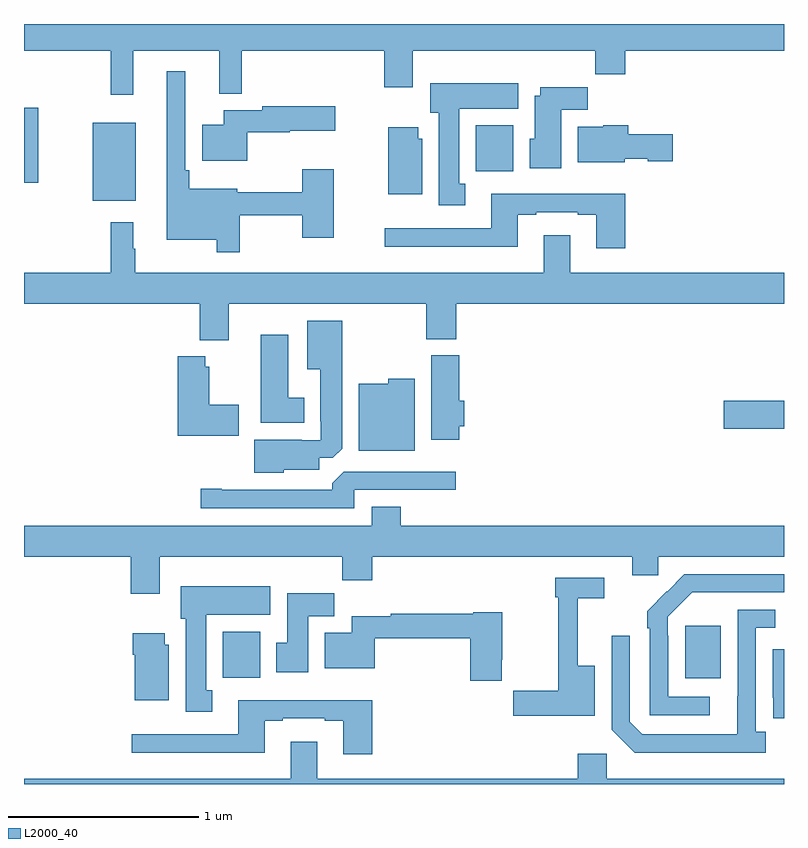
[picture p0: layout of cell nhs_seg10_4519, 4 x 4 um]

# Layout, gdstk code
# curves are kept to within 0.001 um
import gdstk
lib = gdstk.Library(unit=1e-6, precision=1e-09)
def R(c, l, rs):  # rectangles x0, y0, x1, y1
    for r in rs: c.add(gdstk.rectangle(r[:2], r[2:], *l))
def P(c, l, *ps):  # polygons
    for p in ps: c.add(gdstk.Polygon(p, *l))
L2000_40 = (2000, 40)

nhs_seg10_4519 = lib.new_cell('nhs_seg10_4519')
R(nhs_seg10_4519, L2000_40, [(372.479,1253.057,372.667,1253.332), (370.046,1253.06,370.243,1253.302), (372.684,1254.371,373,1254.518), (369.362,1255.571,369.589,1255.981), (369,1255.665,369.076,1256.059), (371.378,1255.724,371.575,1255.966)])
P(nhs_seg10_4519, L2000_40, [(369.575,1256.36),(370.028,1256.36),(370.028,1256.132),(370.145,1256.132),(370.145,1256.36),(370.895,1256.36),(370.895,1256.166),(371.047,1256.166),(371.047,1256.36),(372.007,1256.36),(372.007,1256.236),(372.164,1256.236),(372.164,1256.36),(373,1256.36),(373,1256.5),(369,1256.5),(369,1256.36),(369.457,1256.36),(369.457,1256.127),(369.575,1256.127)],
  [(370.135,1255.494),(370.465,1255.494),(370.465,1255.374),(370.63,1255.374),(370.63,1255.735),(370.465,1255.735),(370.465,1255.615),(370.123,1255.615),(370.123,1255.633),(369.869,1255.633),(369.869,1255.729),(369.849,1255.729),(369.849,1256.251),(369.752,1256.251),(369.752,1255.364),(370.014,1255.364),(370.014,1255.299),(370.135,1255.299)],
  [(371.323,1255.658),(371.29,1255.658),(371.29,1256.054),(371.602,1256.054),(371.602,1256.188),(371.138,1256.188),(371.138,1256.034),(371.183,1256.034),(371.183,1255.545),(371.323,1255.545)],
  [(371.827,1256.048),(371.966,1256.048),(371.966,1256.167),(371.717,1256.167),(371.717,1256.122),(371.687,1256.122),(371.687,1255.896),(371.663,1255.896),(371.663,1255.742),(371.827,1255.742)],
  [(370.174,1255.93),(370.398,1255.93),(370.398,1255.937),(370.639,1255.937),(370.639,1256.067),(370.254,1256.067),(370.254,1256.047),(370.052,1256.047),(370.052,1255.969),(369.938,1255.969),(369.938,1255.781),(370.174,1255.781)],
  [(372.162,1255.79),(372.282,1255.79),(372.282,1255.778),(372.415,1255.778),(372.415,1255.92),(372.179,1255.92),(372.179,1255.966),(372.048,1255.966),(372.048,1255.96),(371.915,1255.96),(371.915,1255.772),(372.162,1255.772)],
  [(371.095,1255.896),(371.074,1255.896),(371.074,1255.957),(370.916,1255.957),(370.916,1255.604),(371.095,1255.604)],
  [(372.164,1255.606),(371.459,1255.606),(371.459,1255.425),(370.899,1255.425),(370.899,1255.328),(371.599,1255.328),(371.599,1255.497),(371.695,1255.497),(371.695,1255.509),(371.915,1255.509),(371.915,1255.497),(372.011,1255.497),(372.011,1255.32),(372.164,1255.32)],
  [(370.078,1255.028),(371.116,1255.028),(371.116,1254.841),(371.276,1254.841),(371.276,1255.028),(373,1255.028),(373,1255.192),(371.875,1255.192),(371.875,1255.387),(371.735,1255.387),(371.735,1255.192),(369.586,1255.192),(369.586,1255.316),(369.574,1255.316),(369.574,1255.456),(369.457,1255.456),(369.457,1255.192),(369,1255.192),(369,1255.028),(369.926,1255.028),(369.926,1254.836),(370.078,1254.836)],
  [(370.368,1254.155),(370.555,1254.155),(370.555,1254.216),(370.626,1254.216),(370.675,1254.265),(370.675,1254.937),(370.49,1254.937),(370.49,1254.683),(370.559,1254.683),(370.559,1254.409),(370.563,1254.409),(370.563,1254.309),(370.463,1254.309),(370.463,1254.313),(370.211,1254.313),(370.211,1254.137),(370.368,1254.137)],
  [(370.474,1254.532),(370.39,1254.532),(370.39,1254.865),(370.247,1254.865),(370.247,1254.401),(370.474,1254.401)],
  [(371.291,1254.383),(371.317,1254.383),(371.317,1254.518),(371.291,1254.518),(371.291,1254.756),(371.144,1254.756),(371.144,1254.312),(371.291,1254.312)],
  [(370.129,1254.495),(369.976,1254.495),(369.976,1254.697),(369.954,1254.697),(369.954,1254.751),(369.809,1254.751),(369.809,1254.332),(370.129,1254.332)],
  [(371.056,1254.634),(370.917,1254.634),(370.917,1254.607),(370.763,1254.607),(370.763,1254.254),(371.056,1254.254)],
  [(370.737,1254.048),(371.272,1254.048),(371.272,1254.144),(370.683,1254.144),(370.622,1254.082),(370.622,1254.048),(370.042,1254.048),(370.042,1254.053),(369.93,1254.053),(369.93,1253.952),(370.737,1253.952)],
  [(369,1253.696),(369.563,1253.696),(369.563,1253.502),(369.715,1253.502),(369.715,1253.696),(370.675,1253.696),(370.675,1253.572),(370.832,1253.572),(370.832,1253.696),(372.2,1253.696),(372.2,1253.598),(372.339,1253.598),(372.339,1253.696),(373,1253.696),(373,1253.86),(370.982,1253.86),(370.982,1253.959),(370.829,1253.959),(370.829,1253.86),(369,1253.86)],
  [(372.61,1252.959),(372.39,1252.959),(372.39,1253.279),(372.387,1253.279),(372.387,1253.379),(372.516,1253.508),(373,1253.508),(373,1253.604),(372.476,1253.604),(372.279,1253.409),(372.279,1253.321),(372.294,1253.321),(372.294,1252.863),(372.61,1252.863)],
  [(372.004,1253.122),(371.915,1253.122),(371.915,1253.478),(372.055,1253.478),(372.055,1253.586),(371.797,1253.586),(371.797,1253.483),(371.812,1253.483),(371.812,1252.991),(371.575,1252.991),(371.575,1252.858),(372.004,1252.858)],
  [(369.991,1252.994),(369.958,1252.994),(369.958,1253.39),(370.297,1253.39),(370.297,1253.542),(369.824,1253.542),(369.824,1253.37),(369.851,1253.37),(369.851,1252.881),(369.991,1252.881)],
  [(370.495,1253.384),(370.634,1253.384),(370.634,1253.503),(370.385,1253.503),(370.385,1253.244),(370.328,1253.244),(370.328,1253.088),(370.495,1253.088)],
  [(372.904,1252.774),(372.852,1252.774),(372.852,1253.322),(372.955,1253.322),(372.955,1253.418),(372.756,1253.418),(372.755,1252.761),(372.255,1252.761),(372.189,1252.827),(372.189,1253.281),(372.093,1253.281),(372.093,1252.785),(372.214,1252.664),(372.904,1252.664)],
  [(371.515,1253.155),(371.518,1253.155),(371.518,1253.403),(371.364,1253.403),(371.364,1253.395),(370.93,1253.395),(370.93,1253.384),(370.724,1253.384),(370.724,1253.296),(370.583,1253.296),(370.583,1253.108),(370.847,1253.108),(370.847,1253.266),(371.348,1253.266),(371.348,1253.044),(371.515,1253.044)],
  [(369.763,1253.232),(369.742,1253.232),(369.742,1253.293),(369.572,1253.293),(369.572,1253.18),(369.584,1253.18),(369.584,1252.94),(369.763,1252.94)],
  [(373,1253.209),(372.942,1253.209),(372.942,1252.954),(372.943,1252.954),(372.943,1252.845),(373,1252.845)],
  [(370.832,1252.942),(370.127,1252.942),(370.127,1252.761),(369.567,1252.761),(369.567,1252.664),(370.267,1252.664),(370.267,1252.833),(370.363,1252.833),(370.363,1252.845),(370.583,1252.845),(370.583,1252.833),(370.679,1252.833),(370.679,1252.656),(370.832,1252.656)],
  [(373,1252.528),(372.066,1252.528),(372.066,1252.66),(371.915,1252.66),(371.915,1252.528),(370.543,1252.528),(370.543,1252.723),(370.403,1252.723),(370.403,1252.528),(369,1252.528),(369,1252.5),(373,1252.5)])

lib.write_gds('nhs_seg10_4519.gds')
